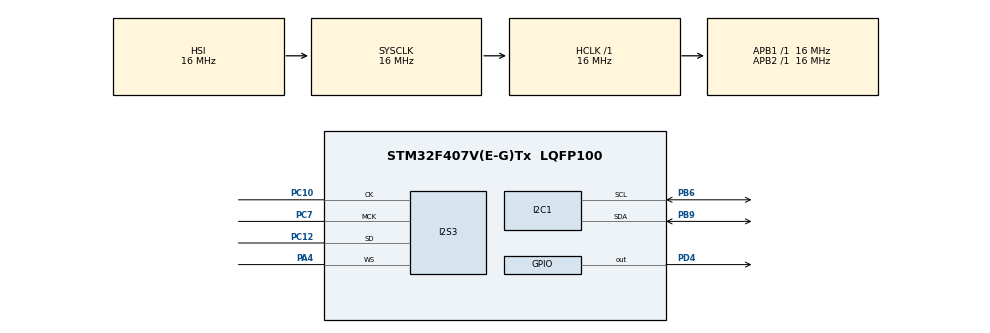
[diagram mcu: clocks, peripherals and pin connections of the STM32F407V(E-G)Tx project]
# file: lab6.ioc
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Dma.Request0=SPI3_TX
Dma.SPI3_TX.0.Direction=DMA_MEMORY_TO_PERIPH
Dma.SPI3_TX.0.FIFOMode=DMA_FIFOMODE_ENABLE
Dma.SPI3_TX.0.FIFOThreshold=DMA_FIFO_THRESHOLD_FULL
Dma.SPI3_TX.0.Instance=DMA1_Stream5
Dma.SPI3_TX.0.MemBurst=DMA_MBURST_SINGLE
Dma.SPI3_TX.0.MemDataAlignment=DMA_MDATAALIGN_HALFWORD
Dma.SPI3_TX.0.MemInc=DMA_MINC_ENABLE
Dma.SPI3_TX.0.Mode=DMA_CIRCULAR
Dma.SPI3_TX.0.PeriphBurst=DMA_PBURST_SINGLE
Dma.SPI3_TX.0.PeriphDataAlignment=DMA_PDATAALIGN_HALFWORD
Dma.SPI3_TX.0.PeriphInc=DMA_PINC_DISABLE
Dma.SPI3_TX.0.Priority=DMA_PRIORITY_LOW
I2S3.AudioFreq=I2S_AUDIOFREQ_48K
I2S3.ErrorAudioFreq=-2.34 %
I2S3.FullDuplexMode=I2S_FULLDUPLEXMODE_DISABLE
I2S3.Instance=SPI$Index
I2S3.RealAudioFreq=46.875 KHz
I2S3.VirtualMode=I2S_MODE_MASTER
Mcu.Family=STM32F4
Mcu.Name=STM32F407V(E-G)Tx
Mcu.Package=LQFP100
NVIC.DMA1_Stream5_IRQn=true\:0\:0\:false\:false\:true\:false\:true\:true
NVIC.PriorityGroup=NVIC_PRIORITYGROUP_4
PA4.Mode=Half_Duplex_Master
PA4.Signal=I2S3_WS
PB6.Mode=I2C
PB6.Signal=I2C1_SCL
PB9.Mode=I2C
PB9.Signal=I2C1_SDA
PC10.Mode=Half_Duplex_Master
PC10.Signal=I2S3_CK
PC12.Mode=Half_Duplex_Master
PC12.Signal=I2S3_SD
PC7.Mode=Master_Clock_Activated
PC7.Signal=I2S3_MCK
PD4.Signal=GPIO_Output
ProjectManager.HeapSize=0x200
ProjectManager.StackSize=0x400
ProjectManager.TargetToolchain=STM32CubeIDE
RCC.AHBFreq_Value=16000000
RCC.APB1Freq_Value=16000000
RCC.APB2Freq_Value=16000000
RCC.CortexFreq_Value=16000000
RCC.HSE_VALUE=25000000
RCC.HSI_VALUE=16000000
RCC.LSE_VALUE=32768
RCC.SYSCLKFreq_VALUE=16000000
RCC.VCOOutputFreq_Value=192000000
board=custom

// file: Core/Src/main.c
/* USER CODE BEGIN Header */
/**
  ******************************************************************************
  * @file           : main.c
  * @brief          : Main program body
  ******************************************************************************
  * @attention
  *
  * Copyright (c) 2023 STMicroelectronics.
  * All rights reserved.
  *
  * This software is licensed under terms that can be found in the LICENSE file
  * in the root directory of this software component.
  * If no LICENSE file comes with this software, it is provided AS-IS.
  *
  ******************************************************************************
  */
/* USER CODE END Header */
#include "main.h"

/* USER CODE BEGIN Includes */
#include "stdbool.h"
/* USER CODE END Includes */

/* USER CODE BEGIN PTD */
typedef enum
{
	C4,
	C5,
	C6,
	C7,
	C8,
	C9,
	C10,
	C11,
	C12,
	C13,
	C14,
	C15,
	C16,
	C17,
	C18,
	C19
} soundToneType;
/* USER CODE END PTD */

/* USER CODE BEGIN PD */
#define CS43L22_I2C_ADDRESS		0x94
#define I2C_TIMEOUT				10

/* USER CODE END PD */

I2C_HandleTypeDef hi2c1;

I2S_HandleTypeDef hi2s3;
DMA_HandleTypeDef hdma_spi3_tx;

/* USER CODE BEGIN PV */
int16_t dataI2S[100] = {0};
/* USER CODE END PV */

void SystemClock_Config(void);
static void MX_GPIO_Init(void);
static void MX_DMA_Init(void);
static void MX_I2C1_Init(void);
static void MX_I2S3_Init(void);

/* USER CODE BEGIN 0 */
void CS43L22_Init(void)
{
	// Enable chip
	HAL_GPIO_WritePin(GPIOD, GPIO_PIN_4, GPIO_PIN_SET);

	//
	// Initialization
	//
	uint8_t TxBuffer[2];

	TxBuffer[0] = 0x0D;
	TxBuffer[1] = 0x01;
	HAL_I2C_Master_Transmit(&hi2c1, CS43L22_I2C_ADDRESS, (uint8_t*) &TxBuffer, 2, I2C_TIMEOUT);

	TxBuffer[0] = 0x00;
	TxBuffer[1] = 0x99;
	HAL_I2C_Master_Transmit(&hi2c1, CS43L22_I2C_ADDRESS, (uint8_t*) &TxBuffer, 2, I2C_TIMEOUT);

	TxBuffer[0] = 0x47;
	TxBuffer[1] = 0x80;
	HAL_I2C_Master_Transmit(&hi2c1, CS43L22_I2C_ADDRESS, (uint8_t*) &TxBuffer, 2, I2C_TIMEOUT);

	TxBuffer[0] = 0x32;
	TxBuffer[1] = 0xFF;
	HAL_I2C_Master_Transmit(&hi2c1, CS43L22_I2C_ADDRESS, (uint8_t*) &TxBuffer, 2, I2C_TIMEOUT);

	TxBuffer[0] = 0x32;
	TxBuffer[1] = 0x7F;
	HAL_I2C_Master_Transmit(&hi2c1, CS43L22_I2C_ADDRESS, (uint8_t*) &TxBuffer, 2, I2C_TIMEOUT);

	TxBuffer[0] = 0x00;
	TxBuffer[1] = 0x00;
	HAL_I2C_Master_Transmit(&hi2c1, CS43L22_I2C_ADDRESS, (uint8_t*) &TxBuffer, 2, I2C_TIMEOUT);

	TxBuffer[0] = 0x04;
	TxBuffer[1] = 0xAF;
	HAL_I2C_Master_Transmit(&hi2c1, CS43L22_I2C_ADDRESS, (uint8_t*) &TxBuffer, 2, I2C_TIMEOUT);

	TxBuffer[0] = 0x0D;
	TxBuffer[1] = 0x70;
	HAL_I2C_Master_Transmit(&hi2c1, CS43L22_I2C_ADDRESS, (uint8_t*) &TxBuffer, 2, I2C_TIMEOUT);

	TxBuffer[0] = 0x05;
	TxBuffer[1] = 0x81;
	HAL_I2C_Master_Transmit(&hi2c1, CS43L22_I2C_ADDRESS, (uint8_t*) &TxBuffer, 2, I2C_TIMEOUT);

	TxBuffer[0] = 0x06;
	TxBuffer[1] = 0x07;
	HAL_I2C_Master_Transmit(&hi2c1, CS43L22_I2C_ADDRESS, (uint8_t*) &TxBuffer, 2, I2C_TIMEOUT);

	TxBuffer[0] = 0x0A;
	TxBuffer[1] = 0x00;
	HAL_I2C_Master_Transmit(&hi2c1, CS43L22_I2C_ADDRESS, (uint8_t*) &TxBuffer, 2, I2C_TIMEOUT);

	TxBuffer[0] = 0x27;
	TxBuffer[1] = 0x00;
	HAL_I2C_Master_Transmit(&hi2c1, CS43L22_I2C_ADDRESS, (uint8_t*) &TxBuffer, 2, I2C_TIMEOUT);

	TxBuffer[0] = 0x1A;
	TxBuffer[1] = 0x0A;
	HAL_I2C_Master_Transmit(&hi2c1, CS43L22_I2C_ADDRESS, (uint8_t*) &TxBuffer, 2, I2C_TIMEOUT);

	TxBuffer[0] = 0x1B;
	TxBuffer[1] = 0x0A;
	HAL_I2C_Master_Transmit(&hi2c1, CS43L22_I2C_ADDRESS, (uint8_t*) &TxBuffer, 2, I2C_TIMEOUT);

	TxBuffer[0] = 0x1F;
	TxBuffer[1] = 0x0F;
	HAL_I2C_Master_Transmit(&hi2c1, CS43L22_I2C_ADDRESS, (uint8_t*) &TxBuffer, 2, I2C_TIMEOUT);

	TxBuffer[0] = 0x02;
	TxBuffer[1] = 0x9E;
	HAL_I2C_Master_Transmit(&hi2c1, CS43L22_I2C_ADDRESS, (uint8_t*) &TxBuffer, 2, I2C_TIMEOUT);
}

void CS43L22_Beep(soundToneType pitch, uint32_t duration_ms)
{
	uint8_t TxBuffer[2];

	// Set volume and off time
	TxBuffer[0] = 0x1D;		// Register address
	TxBuffer[1] = 0x00;		// Value (volume and off time)
	HAL_I2C_Master_Transmit(&hi2c1, CS43L22_I2C_ADDRESS, (uint8_t*) &TxBuffer, 2, I2C_TIMEOUT);

	// Set sound frequency
	TxBuffer[0] = 0x1C;		// Register address
	switch (pitch)
	{
		case C4:
			TxBuffer[1] = 0x00;		// Value (frequency and on time)
			break;
		case C5:
			TxBuffer[1] = 0x10;		// Value (frequency and on time)
			break;
		case C6:
			TxBuffer[1] = 0x20;		// Value (frequency and on time)
			break;
		case C7:
			TxBuffer[1] = 0x30;		// Value (frequency and on time)
			break;
		case C8:
			TxBuffer[1] = 0x40;		// Value (frequency and on time)
			break;
		case C9:
			TxBuffer[1] = 0x50;		// Value (frequency and on time)
			break;
		case C10:
			TxBuffer[1] = 0x60;		// Value (frequency and on time)
			break;
		case C11:
			TxBuffer[1] = 0x70;		// Value (frequency and on time)
			break;
		case C12:
			TxBuffer[1] = 0x80;		// Value (frequency and on time)
			break;
		case C13:
			TxBuffer[1] = 0x90;		// Value (frequency and on time)
			break;
		case C14:
			TxBuffer[1] = 0xA0;		// Value (frequency and on time)
			break;
		case C15:
			TxBuffer[1] = 0xB0;		// Value (frequency and on time)
			break;
		case C16:
			TxBuffer[1] = 0xC0;		// Value (frequency and on time)
			break;
		case C17:
			TxBuffer[1] = 0xD0;		// Value (frequency and on time)
			break;
		case C18:
			TxBuffer[1] = 0xE0;		// Value (frequency and on time)
			break;
		case C19:
			TxBuffer[1] = 0xF0;		// Value (frequency and on time)
			break;

		default:
			TxBuffer[1] = 0x00;		// Value (frequency and on time)
			break;
	}
	HAL_I2C_Master_Transmit(&hi2c1, CS43L22_I2C_ADDRESS, (uint8_t*) &TxBuffer, 2, I2C_TIMEOUT);

	// Enable continuous mode (SOUND STARTED)
	TxBuffer[0] = 0x1E;		// Register address
	TxBuffer[1] = 0xC0;		// Value (beep and tone configuration)
	HAL_I2C_Master_Transmit(&hi2c1, CS43L22_I2C_ADDRESS, (uint8_t*) &TxBuffer, 2, I2C_TIMEOUT);

	// Playing...
	HAL_Delay(duration_ms);

	// Disable continuous mode (SOUND STOPED)
	TxBuffer[0] = 0x1E;		// Register address
	TxBuffer[1] = 0x00;		// Value (beep and tone configuration)
	HAL_I2C_Master_Transmit(&hi2c1, CS43L22_I2C_ADDRESS, (uint8_t*) &TxBuffer, 2, I2C_TIMEOUT);
}
/* USER CODE END 0 */

int main(void)
{

  /* MCU Configuration--------------------------------------------------------*/

  /* Reset of all peripherals, Initializes the Flash interface and the Systick. */
  HAL_Init();

  /* Configure the system clock */
  SystemClock_Config();

  /* Initialize all configured peripherals */
  MX_GPIO_Init();
  MX_DMA_Init();
  MX_I2C1_Init();
  MX_I2S3_Init();
  /* USER CODE BEGIN 2 */

  // Init DAC
  CS43L22_Init();

  // Transmit empty data
  HAL_I2S_Transmit_DMA(&hi2s3, (uint16_t *)dataI2S, 100);

  /* USER CODE END 2 */

  /* Infinite loop */
  /* USER CODE BEGIN WHILE */
  int freq = C4;
  bool flag = true;
  while (1)
  {
	  if (flag) freq++;
	  else freq--;

	  if (freq >= C19)
		  flag = false;
	  if (freq <= C4)
		  flag = true;

	  CS43L22_Beep(freq, 300);
	  HAL_Delay(50);

    /* USER CODE END WHILE */

  }
}

void SystemClock_Config(void)
{
  RCC_OscInitTypeDef RCC_OscInitStruct = {0};
  RCC_ClkInitTypeDef RCC_ClkInitStruct = {0};

  /** Macro to configure the PLL multiplication factor
  */
  __HAL_RCC_PLL_PLLM_CONFIG(16);

  /** Macro to configure the PLL clock source
  */
  __HAL_RCC_PLL_PLLSOURCE_CONFIG(RCC_PLLSOURCE_HSI);

  /** Configure the main internal regulator output voltage
  */
  __HAL_RCC_PWR_CLK_ENABLE();
  __HAL_PWR_VOLTAGESCALING_CONFIG(PWR_REGULATOR_VOLTAGE_SCALE1);

  /** Initializes the RCC Oscillators according to the specified parameters
  * in the RCC_OscInitTypeDef structure.
  */
  RCC_OscInitStruct.OscillatorType = RCC_OSCILLATORTYPE_HSI;
  RCC_OscInitStruct.HSIState = RCC_HSI_ON;
  RCC_OscInitStruct.HSICalibrationValue = RCC_HSICALIBRATION_DEFAULT;
  RCC_OscInitStruct.PLL.PLLState = RCC_PLL_NONE;
  RCC_OscInitStruct.PLL.PLLSource = RCC_PLLSOURCE_HSI;
  if (HAL_RCC_OscConfig(&RCC_OscInitStruct) != HAL_OK)
  {
    Error_Handler();
  }

  /** Initializes the CPU, AHB and APB buses clocks
  */
  RCC_ClkInitStruct.ClockType = RCC_CLOCKTYPE_HCLK|RCC_CLOCKTYPE_SYSCLK
                              |RCC_CLOCKTYPE_PCLK1|RCC_CLOCKTYPE_PCLK2;
  RCC_ClkInitStruct.SYSCLKSource = RCC_SYSCLKSOURCE_HSI;
  RCC_ClkInitStruct.AHBCLKDivider = RCC_SYSCLK_DIV1;
  RCC_ClkInitStruct.APB1CLKDivider = RCC_HCLK_DIV1;
  RCC_ClkInitStruct.APB2CLKDivider = RCC_HCLK_DIV1;

  if (HAL_RCC_ClockConfig(&RCC_ClkInitStruct, FLASH_LATENCY_0) != HAL_OK)
  {
    Error_Handler();
  }
}

static void MX_I2C1_Init(void)
{

  hi2c1.Instance = I2C1;
  hi2c1.Init.ClockSpeed = 100000;
  hi2c1.Init.DutyCycle = I2C_DUTYCYCLE_2;
  hi2c1.Init.OwnAddress1 = 0;
  hi2c1.Init.AddressingMode = I2C_ADDRESSINGMODE_7BIT;
  hi2c1.Init.DualAddressMode = I2C_DUALADDRESS_DISABLE;
  hi2c1.Init.OwnAddress2 = 0;
  hi2c1.Init.GeneralCallMode = I2C_GENERALCALL_DISABLE;
  hi2c1.Init.NoStretchMode = I2C_NOSTRETCH_DISABLE;
  if (HAL_I2C_Init(&hi2c1) != HAL_OK)
  {
    Error_Handler();
  }

}

static void MX_I2S3_Init(void)
{

  hi2s3.Instance = SPI3;
  hi2s3.Init.Mode = I2S_MODE_MASTER_TX;
  hi2s3.Init.Standard = I2S_STANDARD_PHILIPS;
  hi2s3.Init.DataFormat = I2S_DATAFORMAT_16B;
  hi2s3.Init.MCLKOutput = I2S_MCLKOUTPUT_ENABLE;
  hi2s3.Init.AudioFreq = I2S_AUDIOFREQ_48K;
  hi2s3.Init.CPOL = I2S_CPOL_LOW;
  hi2s3.Init.ClockSource = I2S_CLOCK_PLL;
  hi2s3.Init.FullDuplexMode = I2S_FULLDUPLEXMODE_DISABLE;
  if (HAL_I2S_Init(&hi2s3) != HAL_OK)
  {
    Error_Handler();
  }

}

static void MX_DMA_Init(void)
{

  /* DMA controller clock enable */
  __HAL_RCC_DMA1_CLK_ENABLE();

  /* DMA interrupt init */
  /* DMA1_Stream5_IRQn interrupt configuration */
  HAL_NVIC_SetPriority(DMA1_Stream5_IRQn, 0, 0);
  HAL_NVIC_EnableIRQ(DMA1_Stream5_IRQn);

}

static void MX_GPIO_Init(void)
{
  GPIO_InitTypeDef GPIO_InitStruct = {0};

  /* GPIO Ports Clock Enable */
  __HAL_RCC_GPIOA_CLK_ENABLE();
  __HAL_RCC_GPIOC_CLK_ENABLE();
  __HAL_RCC_GPIOD_CLK_ENABLE();
  __HAL_RCC_GPIOB_CLK_ENABLE();

  /*Configure GPIO pin Output Level */
  HAL_GPIO_WritePin(GPIOD, GPIO_PIN_4, GPIO_PIN_RESET);

  /*Configure GPIO pin : PD4 */
  GPIO_InitStruct.Pin = GPIO_PIN_4;
  GPIO_InitStruct.Mode = GPIO_MODE_OUTPUT_PP;
  GPIO_InitStruct.Pull = GPIO_NOPULL;
  GPIO_InitStruct.Speed = GPIO_SPEED_FREQ_LOW;
  HAL_GPIO_Init(GPIOD, &GPIO_InitStruct);

}

void Error_Handler(void)
{
  __disable_irq();
  while (1)
  {
  }
}
